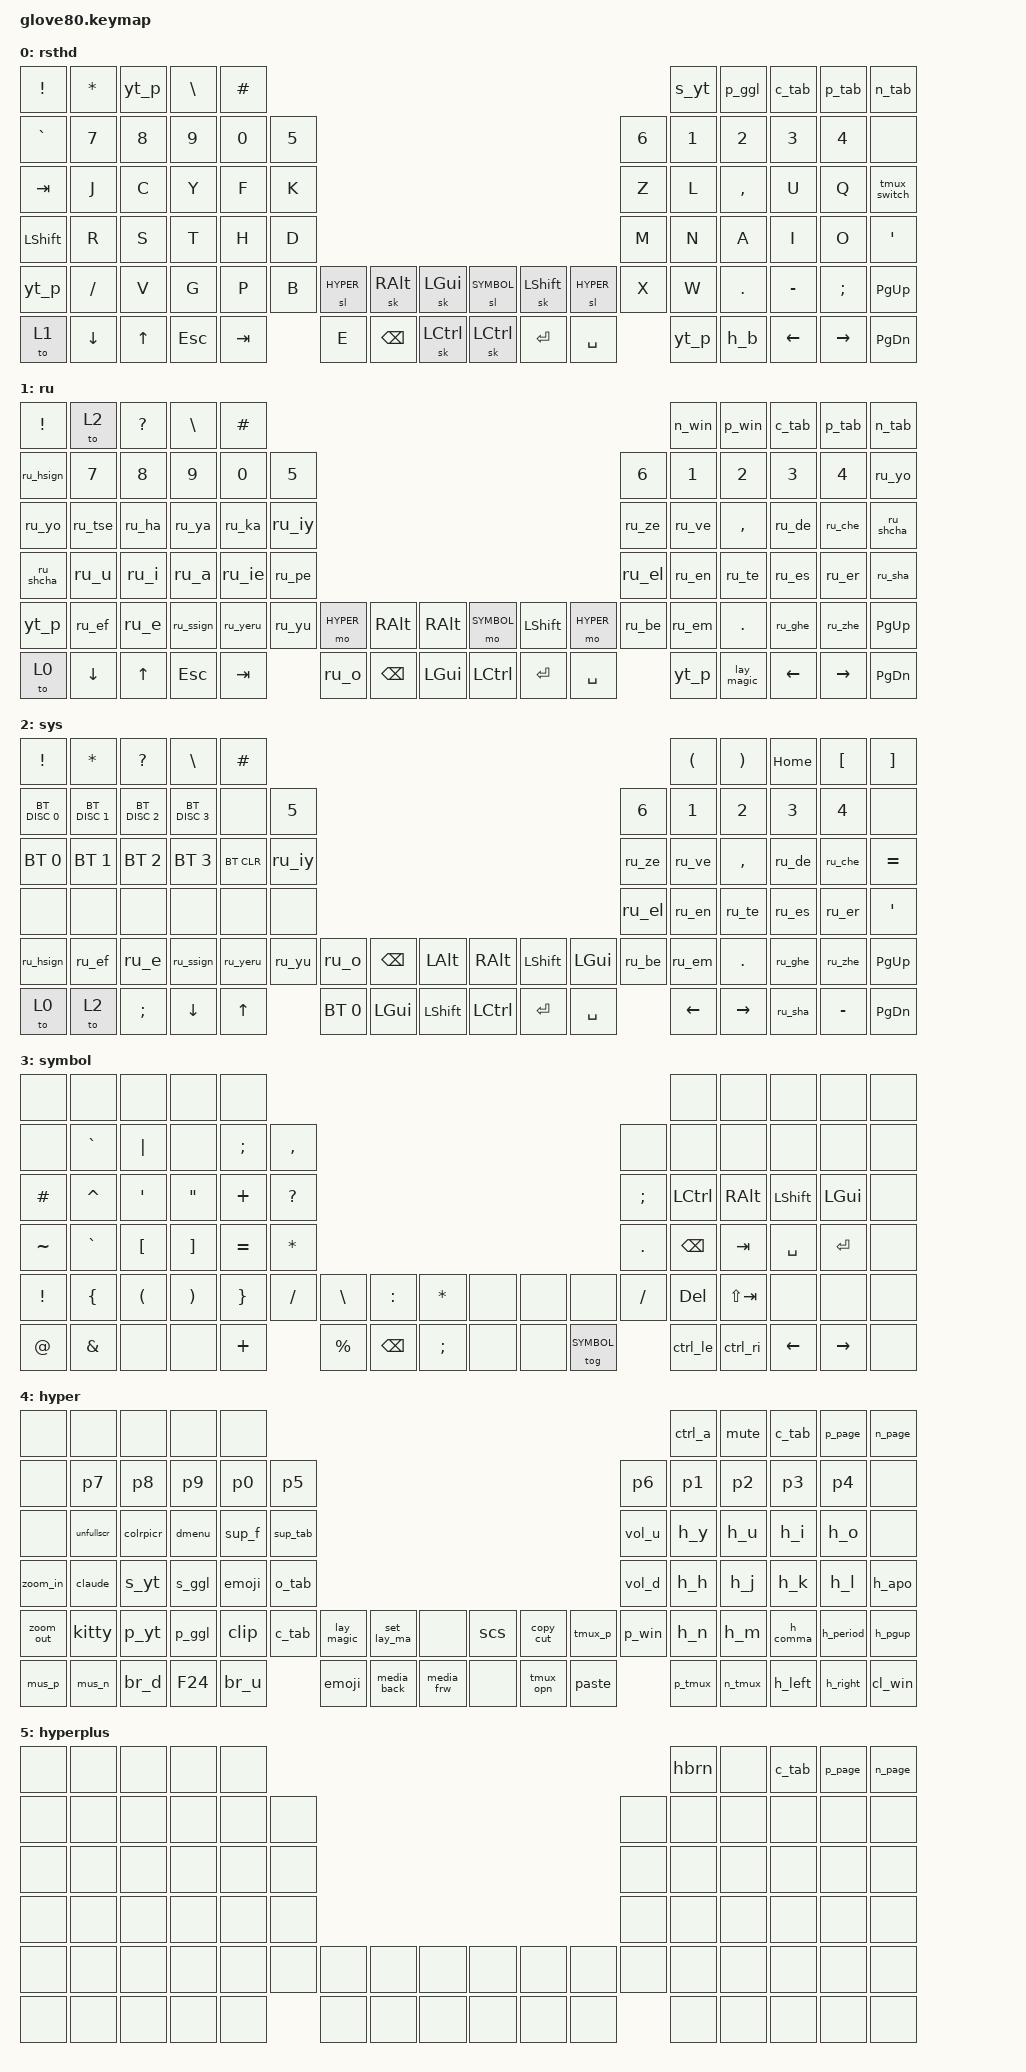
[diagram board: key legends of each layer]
#include <behaviors.dtsi>
#include <dt-bindings/zmk/keys.h>
#include <dt-bindings/zmk/bt.h>
// #if CONFIG_WIRELESS
//     #include <dt-bindings/zmk/bt.h>
//     #define _BT_SEL_KEYS_ &bt BT_SEL 0 &bt BT_SEL 1 &bt BT_SEL 2 &bt BT_SEL 3 &bt BT_CLR
// #else
//     #define _BT_SEL_KEYS_ &trans &trans &trans &trans &trans
// #endif
#define HOST_OS 1 // Linux
#include "../zmk-nodefree-config/helper.h"
#include "../zmk-nodefree-config/international_chars/russian.dtsi"

#define RSTHD 0
#define RU 1
#define SYS 2
#define SYMBOL 3
#define HYPER 4

// #include "combos.dtsi"  // requires layer aliases
# include "mouse.dtsi"
#include "extra_keys.h"

#define XXX &none
#define ___ &trans

/* Global settings */

#define QUICK_TAP_MS 175

&sk {  // sticky-key config
    release-after-ms = <900>;  // release after 0.9s
    quick-release;             // no double capitalization when rolling keys
};

&sl {  // sticky-layer config
    ignore-modifiers;          // allow chording sticky mods & layers // only line from urob's config
    release-after-ms = <900>;  // release after 0.6s
};

&lt {  // layer-tap config
    flavor = "balanced";
    tapping-term-ms = <200>;
    quick-tap-ms = <QUICK_TAP_MS>;
};


/* Caps-word, num-word and smart-mouse */
/* Custom behaviors */

// reuse basic mod-morph scheme
#define SIMPLE_MORPH(NAME, MOD, BINDING1, BINDING2) \
    ZMK_BEHAVIOR(NAME, mod_morph, \
        mods = <(MOD_L ## MOD|MOD_R ## MOD)>; \
        bindings = <BINDING1>, <BINDING2>; \
    )

// tap: comma | shift + tap: semicolon | ctrl + shift + tap: <
SIMPLE_MORPH(comma_morph, SFT, &kp COMMA, &comma_inner_morph)
SIMPLE_MORPH(comma_inner_morph, CTL, &kp SEMICOLON, &kp LESS_THAN)

// tap: dot | shift + tap: colon | ctrl + shift + tap: >
SIMPLE_MORPH(dot_morph, SFT, &kp DOT, &dot_inner_morph)
SIMPLE_MORPH(dot_inner_morph, CTL, &kp COLON, &kp GREATER_THAN)

// tap: qmark | shift + tap: excl
SIMPLE_MORPH(qexcl, SFT, &kp QMARK, &kp EXCL)

// tap: left/right parenthesis | shft + tap: less-than/greater-than
SIMPLE_MORPH(lpar_lt, SFT, &kp LPAR, &kp LT)
SIMPLE_MORPH(rpar_gt, SFT, &kp RPAR, &kp GT)

// tap: space | shift + tap: dot -> space -> sticky shift | hold: activate layer
ZMK_BEHAVIOR(lt_spc, hold_tap,
    flavor = "balanced";
    tapping-term-ms = <200>;
    quick-tap-ms = <QUICK_TAP_MS>;
    bindings = <&mo>, <&spc_morph>;
)
SIMPLE_MORPH(spc_morph, SFT, &kp SPACE, &dot_spc)
ZMK_BEHAVIOR(dot_spc, macro,
    wait-ms = <0>;
    tap-ms = <5>;
    bindings = <&kp DOT &kp SPACE &sk LSHFT>;
)

// tap: backspace | lshft + tap: delete | rshft + tap: shift-delete
ZMK_BEHAVIOR(bs_del, mod_morph,
    bindings = <&kp BSPC>, <&kp DEL>;
    mods = <(MOD_LSFT|MOD_RSFT)>;
    keep-mods = <MOD_RSFT>;
)

// tap: copy | double-tap: cut
ZMK_BEHAVIOR(copy_cut, tap_dance,
    tapping-term-ms = <200>;
    bindings = <&kp LC(C)>, <&kp LC(C) &kp BSPC>;
)

/* HYPER Macros */

ZMK_BEHAVIOR(h_a, macro,
    wait-ms = <10>;
    tap-ms = <5>;
    bindings = <&kp LG(A)>;
)

ZMK_BEHAVIOR(cl_win, macro,
    wait-ms = <10>;
    tap-ms = <5>;
    bindings = <&kp LG(Q)>;
)

ZMK_BEHAVIOR(n_win, macro,
    wait-ms = <10>;
    tap-ms = <5>;
    bindings = <&kp LG(Q)>;
)

ZMK_BEHAVIOR(p_win, macro,
    wait-ms = <10>;
    tap-ms = <5>;
    bindings = <&kp LG(X)>;
)

ZMK_BEHAVIOR(n_desk, macro,
    wait-ms = <10>;
    tap-ms = <5>;
    bindings = <&kp LG(D)>;
)

ZMK_BEHAVIOR(p_desk, macro,
    wait-ms = <10>;
    tap-ms = <5>;
    bindings = <&kp LG(S)>;
)

ZMK_BEHAVIOR(shift_desk, macro,
    wait-ms = <10>;
    tap-ms = <5>;
    bindings = <&kp LG(PERIOD)>;
)

ZMK_BEHAVIOR(yt_p, macro,
    wait-ms = <10>;
    tap-ms = <5>;
    bindings = <&kp LG(P)>;
)

ZMK_BEHAVIOR(yt_pause, macro,
    wait-ms = <10>;
    tap-ms = <5>;
    bindings = <&kp LG(LA(P))>;
)

ZMK_BEHAVIOR(spot_p, macro,
    wait-ms = <10>;
    tap-ms = <5>;
    bindings = <&kp LG(LS(P))>;
)

ZMK_BEHAVIOR(h_y, macro,
    wait-ms = <10>;
    tap-ms = <5>;
    bindings = <&kp LG(Y)>;
)

ZMK_BEHAVIOR(h_u, macro,
    wait-ms = <10>;
    tap-ms = <5>;
    bindings = <&kp LG(U)>;
)

ZMK_BEHAVIOR(h_i, macro,
    wait-ms = <10>;
    tap-ms = <5>;
    bindings = <&kp LG(I)>;
)

ZMK_BEHAVIOR(h_o, macro,
    wait-ms = <10>;
    tap-ms = <5>;
    bindings = <&kp LG(O)>;
)

ZMK_BEHAVIOR(h_apo, macro,
    wait-ms = <10>;
    tap-ms = <5>;
    bindings = <&kp LG(LA(M))>;
)

ZMK_BEHAVIOR(h_dash, macro,
    wait-ms = <10>;
    tap-ms = <5>;
    bindings = <&kp LG(LA(N))>;
)

ZMK_BEHAVIOR(h_peri, macro,
    wait-ms = <10>;
    tap-ms = <5>;
    bindings = <&kp LG(LA(PERIOD))>;
)

ZMK_BEHAVIOR(h_l, macro,
    wait-ms = <10>;
    tap-ms = <5>;
    bindings = <&kp LG(L)>;
)

ZMK_BEHAVIOR(h_h, macro,
    wait-ms = <10>;
    tap-ms = <5>;
    bindings = <&kp LG(H)>;
)

ZMK_BEHAVIOR(h_j, macro,
    wait-ms = <10>;
    tap-ms = <5>;
    bindings = <&kp LG(J)>;
)

ZMK_BEHAVIOR(h_k, macro,
    wait-ms = <10>;
    tap-ms = <5>;
    bindings = <&kp LG(K)>;
)

ZMK_BEHAVIOR(h_l, macro,
    wait-ms = <10>;
    tap-ms = <5>;
    bindings = <&kp LG(L)>;
)

ZMK_BEHAVIOR(h_b, macro,
    wait-ms = <10>;
    tap-ms = <5>;
    bindings = <&kp LG(B)>;
)

ZMK_BEHAVIOR(h_n, macro,
    wait-ms = <10>;
    tap-ms = <5>;
    bindings = <&kp LG(N)>;
)

ZMK_BEHAVIOR(h_m, macro,
    wait-ms = <10>;
    tap-ms = <5>;
    bindings = <&kp LG(M)>;
)

ZMK_BEHAVIOR(h_comma, macro,
    wait-ms = <10>;
    tap-ms = <5>;
    bindings = <&kp LG(COMMA)>;
)

ZMK_BEHAVIOR(h_period, macro,
    wait-ms = <10>;
    tap-ms = <5>;
    bindings = <&kp LG(PERIOD)>;
)

ZMK_BEHAVIOR(h_pgup, macro,
    wait-ms = <10>;
    tap-ms = <5>;
    bindings = <&kp LG(I)>;
)

ZMK_BEHAVIOR(h_left, macro,
    wait-ms = <10>;
    tap-ms = <5>;
    bindings = <&kp LG(O)>;
)

ZMK_BEHAVIOR(h_right, macro,
    wait-ms = <10>;
    tap-ms = <5>;
    bindings = <&kp LG(L)>;
)

ZMK_BEHAVIOR(mouse_place, macro,
    wait-ms = <10>;
    tap-ms = <5>;
    bindings = <&kp LG(U)>;
)

ZMK_BEHAVIOR(clip, macro,
    wait-ms = <10>;
    tap-ms = <5>;
    bindings = <&kp LG(Z)>;
)

ZMK_BEHAVIOR(p_tab, macro,
    wait-ms = <10>;
    tap-ms = <5>;
    bindings = <&kp LC(LS(TAB))>;
)

ZMK_BEHAVIOR(n_tab, macro,
    wait-ms = <10>;
    tap-ms = <5>;
    bindings = <&kp LC(TAB)>;
)

ZMK_BEHAVIOR(c_tab, macro,
    wait-ms = <10>;
    tap-ms = <5>;
    bindings = <&kp LC(W)>;
)

ZMK_BEHAVIOR(p_page, macro,
    wait-ms = <10>;
    tap-ms = <5>;
    bindings = <&kp RA(LEFT)>;
)

ZMK_BEHAVIOR(n_page, macro,
    wait-ms = <10>;
    tap-ms = <5>;
    bindings = <&kp RA(RIGHT)>;
)

ZMK_BEHAVIOR(vol_d, macro,
    wait-ms = <10>;
    tap-ms = <5>;
    bindings = <&kp C_VOL_DN>;
)

ZMK_BEHAVIOR(vol_u, macro,
    wait-ms = <10>;
    tap-ms = <5>;
    bindings = <&kp C_VOL_UP>;
)

ZMK_BEHAVIOR(hbrn, macro,
    wait-ms = <10>;
    tap-ms = <5>;
    bindings = <&kp LG(LC(H))>;
)

ZMK_BEHAVIOR(mute, macro,
    wait-ms = <10>;
    tap-ms = <5>;
    bindings = <&kp C_MUTE>;
)

ZMK_BEHAVIOR(media_back, macro,
    wait-ms = <10>;
    tap-ms = <5>;
    bindings = <&kp LG(LA(LBKT))>;
)

ZMK_BEHAVIOR(media_frw, macro,
    wait-ms = <10>;
    tap-ms = <5>;
    bindings = <&kp LG(LA(RBKT))>;
)

ZMK_BEHAVIOR(p_tmux, macro,
    wait-ms = <10>;
    tap-ms = <5>;
    bindings = <&kp LC(A) &kp P>;
)

ZMK_BEHAVIOR(tmux_opn, macro,
    wait-ms = <30>;
    tap-ms = <5>;
    bindings = <&kp LC(A) &kp G>;
)

ZMK_BEHAVIOR(n_tmux, macro,
    wait-ms = <30>;
    tap-ms = <5>;
    bindings = <&kp LC(A) &kp N>;
)

ZMK_BEHAVIOR(paste, macro,
    wait-ms = <10>;
    tap-ms = <5>;
    bindings = <&kp LC(LS(V))>;
)

ZMK_BEHAVIOR(ctrl_le, macro,
    wait-ms = <10>;
    tap-ms = <5>;
    bindings = <&kp LC(LEFT)>;
)

ZMK_BEHAVIOR(ctrl_ri, macro,
    wait-ms = <10>;
    tap-ms = <5>;
    bindings = <&kp LC(RIGHT)>;
)

ZMK_BEHAVIOR(s_yt, macro,
    wait-ms = <10>;
    tap-ms = <5>;
    bindings = <&kp LS(LG(LA(F1)))>;
)

ZMK_BEHAVIOR(s_ggl, macro,
    wait-ms = <10>;
    tap-ms = <5>;
    bindings = <&kp LS(LG(LA(F2)))>;
)

ZMK_BEHAVIOR(colrpicr, macro,
    wait-ms = <10>;
    tap-ms = <5>;
    bindings = <&kp LG(C)>;
)

ZMK_BEHAVIOR(dmenu, macro,
    wait-ms = <10>;
    tap-ms = <5>;
    bindings = <&kp LG(D)>;
)

ZMK_BEHAVIOR(emoji, macro,
    wait-ms = <10>;
    tap-ms = <5>;
    bindings = <&kp LG(E)>;
)

ZMK_BEHAVIOR(cycle_tabs, macro,
    wait-ms = <10>;
    tap-ms = <5>;
    bindings = <&kp RA(A)>;
)

ZMK_BEHAVIOR(ctrl_a, macro,
    wait-ms = <10>;
    tap-ms = <5>;
    bindings = <&kp LC(A)>;
)

ZMK_BEHAVIOR(o_tab, macro,
    wait-ms = <10>;
    tap-ms = <5>;
    bindings = <&kp LC(T)>;
)

// paste yt
ZMK_BEHAVIOR(p_yt, macro,
    wait-ms = <25>;
    tap-ms = <5>;
    bindings = <&kp LC(C) &kp LS(LG(LA(F3)))>;
)

ZMK_BEHAVIOR(p_ggl, macro,
    wait-ms = <10>;
    tap-ms = <5>;
    bindings = <&kp LC(C) &kp LS(LG(LA(F4)))>;
)

ZMK_BEHAVIOR(p0, macro,
    wait-ms = <10>;
    tap-ms = <5>;
    bindings = <&kp LG(0)>;
)

ZMK_BEHAVIOR(p1, macro,
    wait-ms = <10>;
    tap-ms = <5>;
    bindings = <&kp LG(N1)>;
)

ZMK_BEHAVIOR(p2, macro,
    wait-ms = <10>;
    tap-ms = <5>;
    bindings = <&kp LG(N2)>;
)

ZMK_BEHAVIOR(p3, macro,
    wait-ms = <10>;
    tap-ms = <5>;
    bindings = <&kp LG(N3)>;
)

ZMK_BEHAVIOR(p4, macro,
    wait-ms = <10>;
    tap-ms = <5>;
    bindings = <&kp LG(N4)>;
)

ZMK_BEHAVIOR(p5, macro,
    wait-ms = <10>;
    tap-ms = <5>;
    bindings = <&kp LG(N5)>;
)

ZMK_BEHAVIOR(p6, macro,
    wait-ms = <10>;
    tap-ms = <5>;
    bindings = <&kp LG(N6)>;
)

ZMK_BEHAVIOR(p7, macro,
    wait-ms = <10>;
    tap-ms = <5>;
    bindings = <&kp LG(N7)>;
)

ZMK_BEHAVIOR(p8, macro,
    wait-ms = <10>;
    tap-ms = <5>;
    bindings = <&kp LG(N8)>;
)

ZMK_BEHAVIOR(p9, macro,
    wait-ms = <10>;
    tap-ms = <5>;
    bindings = <&kp LG(N9)>;
)

ZMK_BEHAVIOR(p0, macro,
    wait-ms = <10>;
    tap-ms = <5>;
    bindings = <&kp LG(N0)>;
)

ZMK_BEHAVIOR(win_float, macro,
    wait-ms = <10>;
    tap-ms = <5>;
    bindings = <&kp LG(N0)>;
)

ZMK_BEHAVIOR(set_lay_ma, macro,
    wait-ms = <10>;
    tap-ms = <5>;
    bindings = <&kp LG(LS(PERIOD))>;
)

ZMK_BEHAVIOR(lay_magic, macro,
    wait-ms = <10>;
    tap-ms = <5>;
    bindings = <&kp LG(PERIOD)>;
)

ZMK_BEHAVIOR(sup_f, macro,
    wait-ms = <10>;
    tap-ms = <5>;
    bindings = <&kp LG(V)>;
)

ZMK_BEHAVIOR(sup_tab, macro,
    wait-ms = <10>;
    tap-ms = <5>;
    bindings = <&kp LG(TAB)>;
)

ZMK_BEHAVIOR(zoom_out, macro,
    wait-ms = <10>;
    tap-ms = <5>;
    bindings = <&kp LC(MINUS)>;
)

ZMK_BEHAVIOR(zoom_in, macro,
    wait-ms = <10>;
    tap-ms = <5>;
    bindings = <&kp LC(EQUAL)>;
)

ZMK_BEHAVIOR(unfullscr, macro,
    wait-ms = <10>;
    tap-ms = <5>;
    bindings = <&kp LS(LG(F))>;
)

ZMK_BEHAVIOR(scs, macro,
    wait-ms = <10>;
    tap-ms = <5>;
    bindings = <&kp LG(LA(S))>;
)

ZMK_BEHAVIOR(tmux_p, macro,
    wait-ms = <10>;
    tap-ms = <5>;
    bindings = <&kp LC(A)>;
)

ZMK_BEHAVIOR(tmux_choose, macro,
    wait-ms = <10>;
    tap-ms = <5>;
    bindings = <&kp LC(A) &kp S>;
)

ZMK_BEHAVIOR(tmux_switch, macro,
    wait-ms = <10>;
    tap-ms = <5>;
    bindings = <&kp LC(A) &kp L>;
)

ZMK_BEHAVIOR(br_d, macro,
    wait-ms = <10>;
    tap-ms = <5>;
    bindings = <&kp LG(F1)>;
)

ZMK_BEHAVIOR(br_u, macro,
    wait-ms = <10>;
    tap-ms = <5>;
    bindings = <&kp LG(F2)>;
)

ZMK_BEHAVIOR(mus_p, macro,
    wait-ms = <10>;
    tap-ms = <5>;
    bindings = <&kp LG(LBKT)>;
)

ZMK_BEHAVIOR(mus_n, macro,
    wait-ms = <10>;
    tap-ms = <5>;
    bindings = <&kp LG(RBKT)>;
)

ZMK_BEHAVIOR(claude, macro,
    wait-ms = <10>;
    tap-ms = <5>;
    bindings = <&kp LS(ENTER) &kp GRAVE &kp GRAVE &kp GRAVE &kp LS(ENTER) &kp LC(V) &kp DOWN &kp LS(ENTER) &kp BSPC>;
    // bindings = <&kp LS(ENTER) &kp GRAVE &kp GRAVE &kp GRAVE &kp LS(ENTER) &kp LC(V) &kp DOWN &kp LS(ENTER) &kp GRAVE &kp GRAVE &kp GRAVE LS(ENTER)>;
)

ZMK_BEHAVIOR(kitty, macro,
    wait-ms = <10>;
    tap-ms = <5>;
    bindings = <&kp LG(A)>;
)

/* Keymap */

// ZMK_CONDITIONAL_LAYER(FN NUM, SYS)  // FN + NUM --> SYS

ZMK_LAYER(rsthd,
//╭─────────────┬─────────────┬─────────────┬─────────────┬─────────────╮                                                                                                                  ╭─────────────┬─────────────┬─────────────┬─────────────┬─────────────╮
   &kp EXCL      &kp STAR      &yt_p         &kp BSLH      &kp HASH                                                                                                                         &s_yt         &p_ggl        &c_tab        &p_tab        &n_tab
//├─────────────┼─────────────┼─────────────┼─────────────┼─────────────┼─────────────╮                                                                                      ╭─────────────┼─────────────┼─────────────┼─────────────┼─────────────┼─────────────┤
   &kp GRAVE     &kp N7        &kp N8        &kp N9        &kp N0        &kp N5                                                                                               &kp N6        &kp N1        &kp N2        &kp N3        &kp N4        XXX
//├─────────────┼─────────────┼─────────────┼─────────────┼─────────────┼─────────────┤                                                                                      ├─────────────┼─────────────┼─────────────┼─────────────┼─────────────┼─────────────┤
   &kp TAB       &kp J         &kp C         &kp Y         &kp F         &kp K                                                                                                &kp Z         &kp L         &kp COMMA     &kp U         &kp Q         &tmux_switch
//├─────────────┼─────────────┼─────────────┼─────────────┼─────────────┼─────────────┤                                                                                      ├─────────────┼─────────────┼─────────────┼─────────────┼─────────────┼─────────────┤
   &kp LSHIFT    &kp R         &kp S         &kp T         &kp H         &kp D                                                                                                &kp M         &kp N         &kp A         &kp I         &kp O         &kp SQT
//├─────────────┼─────────────┼─────────────┼─────────────┼─────────────┼─────────────┤╭─────────────┬─────────────┬─────────────╮╭─────────────┬─────────────┬─────────────╮├─────────────┼─────────────┼─────────────┼─────────────┼─────────────┼─────────────┤
   &yt_p         &kp FSLH      &kp V         &kp G         &kp P         &kp B          &sl HYPER     &sk RALT      &sk LGUI       &sl SYMBOL    &sk LSHFT     &sl HYPER      &kp X         &kp W         &kp DOT       &kp MINUS     &kp SEMI      &kp PG_UP
//├─────────────┼─────────────┼─────────────┼─────────────┼─────────────┼─────────────╯├─────────────┼─────────────┼─────────────┤├─────────────┼─────────────┼─────────────┤╰─────────────┼─────────────┼─────────────┼─────────────┼─────────────┼─────────────┤
   &to 1         &kp DOWN      &kp UP        &kp ESC       &kp TAB                      &kp E         &kp BSPC      &sk LCTRL      &sk LCTRL     &kp RET       &kp SPACE                    &yt_p         &h_b          &kp LEFT      &kp RIGHT     &kp PG_DN
//╰─────────────┴─────────────┴─────────────┴─────────────┴─────────────╯              ╰─────────────┴─────────────┴─────────────╯╰─────────────┴─────────────┴─────────────╯              ╰─────────────┴─────────────┴─────────────┴─────────────┴─────────────╯
)

ZMK_LAYER(ru,
//╭─────────────┬─────────────┬─────────────┬─────────────┬─────────────╮                                                                                                                  ╭─────────────┬─────────────┬─────────────┬─────────────┬─────────────╮
   &kp EXCL      &to 2         &kp QMARK     &kp BSLH      &kp HASH                                                                                                                         &n_win        &p_win        &c_tab        &p_tab        &n_tab
//├─────────────┼─────────────┼─────────────┼─────────────┼─────────────┼─────────────╮                                                                                      ╭─────────────┼─────────────┼─────────────┼─────────────┼─────────────┼─────────────┤
   &ru_hsign     &kp N7        &kp N8        &kp N9        &kp N0        &kp N5                                                                                               &kp N6        &kp N1        &kp N2        &kp N3        &kp N4        &ru_yo
//├─────────────┼─────────────┼─────────────┼─────────────┼─────────────┼─────────────┤                                                                                      ├─────────────┼─────────────┼─────────────┼─────────────┼─────────────┼─────────────┤
   &ru_yo        &ru_tse       &ru_ha        &ru_ya        &ru_ka        &ru_iy                                                                                               &ru_ze        &ru_ve        &kp COMMA     &ru_de        &ru_che       &ru_shcha
//├─────────────┼─────────────┼─────────────┼─────────────┼─────────────┼─────────────┤                                                                                      ├─────────────┼─────────────┼─────────────┼─────────────┼─────────────┼─────────────┤
   &ru_shcha     &ru_u         &ru_i         &ru_a         &ru_ie        &ru_pe                                                                                               &ru_el        &ru_en        &ru_te        &ru_es        &ru_er        &ru_sha
//├─────────────┼─────────────┼─────────────┼─────────────┼─────────────┼─────────────┤╭─────────────┬─────────────┬─────────────╮╭─────────────┬─────────────┬─────────────╮├─────────────┼─────────────┼─────────────┼─────────────┼─────────────┼─────────────┤
   &yt_p         &ru_ef        &ru_e         &ru_ssign     &ru_yeru      &ru_yu         &mo HYPER     &kp RALT      &kp RALT       &mo SYMBOL    &kp LSHFT     &mo HYPER      &ru_be        &ru_em        &kp DOT       &ru_ghe       &ru_zhe       &kp PG_UP
//├─────────────┼─────────────┼─────────────┼─────────────┼─────────────┼─────────────╯├─────────────┼─────────────┼─────────────┤├─────────────┼─────────────┼─────────────┤╰─────────────┼─────────────┼─────────────┼─────────────┼─────────────┼─────────────┤
   &to 0         &kp DOWN      &kp UP        &kp ESC       &kp TAB                      &ru_o         &kp BSPC      &kp LGUI       &kp LCTRL     &kp RET       &kp SPACE                    &yt_p         &lay_magic    &kp LEFT      &kp RIGHT     &kp PG_DN
//╰─────────────┴─────────────┴─────────────┴─────────────┴─────────────╯              ╰─────────────┴─────────────┴─────────────╯╰─────────────┴─────────────┴─────────────╯              ╰─────────────┴─────────────┴─────────────┴─────────────┴─────────────╯
)

ZMK_LAYER(sys,
//╭─────────────┬─────────────┬─────────────┬─────────────┬─────────────╮                                                                                                                  ╭─────────────┬─────────────┬─────────────┬─────────────┬─────────────╮
   &kp EXCL      &kp STAR      &kp QMARK     &kp BSLH      &kp HASH                                                                                                                         &kp LPAR      &kp RPAR      &kp HOME      &kp LBKT      &kp RBKT
//├─────────────┼─────────────┼─────────────┼─────────────┼─────────────┼─────────────╮                                                                                      ╭─────────────┼─────────────┼─────────────┼─────────────┼─────────────┼─────────────┤
   &bt BT_DISC 0 &bt BT_DISC 1 &bt BT_DISC 2 &bt BT_DISC 3 XXX           &kp N5                                                                                               &kp N6        &kp N1        &kp N2        &kp N3        &kp N4        XXX
//├─────────────┼─────────────┼─────────────┼─────────────┼─────────────┼─────────────┤                                                                                      ├─────────────┼─────────────┼─────────────┼─────────────┼─────────────┼─────────────┤
   &bt BT_SEL 0 &bt BT_SEL 1 &bt BT_SEL 2 &bt BT_SEL 3 &bt BT_CLR        &ru_iy                                                                                               &ru_ze        &ru_ve        &kp COMMA     &ru_de        &ru_che       &kp EQUAL
//├─────────────┼─────────────┼─────────────┼─────────────┼─────────────┼─────────────┤                                                                                      ├─────────────┼─────────────┼─────────────┼─────────────┼─────────────┼─────────────┤
   XXX XXX XXX XXX XXX XXX                                                                                                                                                    &ru_el        &ru_en        &ru_te        &ru_es        &ru_er        &kp SQT
//├─────────────┼─────────────┼─────────────┼─────────────┼─────────────┼─────────────┤╭─────────────┬─────────────┬─────────────╮╭─────────────┬─────────────┬─────────────╮├─────────────┼─────────────┼─────────────┼─────────────┼─────────────┼─────────────┤
   &ru_hsign     &ru_ef        &ru_e         &ru_ssign     &ru_yeru      &ru_yu         &ru_o         &kp BSPC      &kp LALT       &kp RALT      &kp LSHFT     &kp LGUI       &ru_be        &ru_em        &kp DOT       &ru_ghe       &ru_zhe       &kp PG_UP
//├─────────────┼─────────────┼─────────────┼─────────────┼─────────────┼─────────────╯├─────────────┼─────────────┼─────────────┤├─────────────┼─────────────┼─────────────┤╰─────────────┼─────────────┼─────────────┼─────────────┼─────────────┼─────────────┤
   &to 0         &to 2         &kp SEMI      &kp DOWN      &kp UP                       &bt BT_SEL 0  &kp LGUI      &kp LSHFT      &kp LCTRL     &kp RET       &kp SPACE                    &kp LEFT      &kp RIGHT     &ru_sha       &kp MINUS     &kp PG_DN
//╰─────────────┴─────────────┴─────────────┴─────────────┴─────────────╯              ╰─────────────┴─────────────┴─────────────╯╰─────────────┴─────────────┴─────────────╯              ╰─────────────┴─────────────┴─────────────┴─────────────┴─────────────╯
)

ZMK_LAYER(symbol,
//╭─────────────┬─────────────┬─────────────┬─────────────┬─────────────╮                                                                                                                  ╭─────────────┬─────────────┬─────────────┬─────────────┬─────────────╮
   XXX           XXX           XXX           XXX           XXX                                                                                                                              XXX           XXX           XXX           XXX           XXX  
//├─────────────┼─────────────┼─────────────┼─────────────┼─────────────┼─────────────╮                                                                                      ╭─────────────┼─────────────┼─────────────┼─────────────┼─────────────┼─────────────┤
   XXX           &kp GRAVE     &kp PIPE      XXX           &kp SEMI      &kp COMMA                                                                                            XXX           XXX           XXX           XXX           XXX           XXX  
//├─────────────┼─────────────┼─────────────┼─────────────┼─────────────┼─────────────┤                                                                                      ├─────────────┼─────────────┼─────────────┼─────────────┼─────────────┼─────────────┤
   &kp HASH      &kp CARET     &kp SQT       &kp DQT       &kp PLUS      &kp QMARK                                                                                            &kp SEMI      &kp LCTRL     &kp RALT      &kp LSHFT     &kp LGUI      XXX  
//├─────────────┼─────────────┼─────────────┼─────────────┼─────────────┼─────────────┤                                                                                      ├─────────────┼─────────────┼─────────────┼─────────────┼─────────────┼─────────────┤
   &kp TILDE     &kp GRAVE     &kp LBKT      &kp RBKT      &kp EQUAL     &kp STAR                                                                                             &kp DOT       &kp BSPC      &kp TAB       &kp SPACE     &kp RET       XXX  
//├─────────────┼─────────────┼─────────────┼─────────────┼─────────────┼─────────────┤╭─────────────┬─────────────┬─────────────╮╭─────────────┬─────────────┬─────────────╮├─────────────┼─────────────┼─────────────┼─────────────┼─────────────┼─────────────┤
   &kp EXCL      &kp LBRC      &kp LPAR      &kp RPAR      &kp RBRC      &kp FSLH       &kp BSLH      &kp COLON      &kp STAR       XXX           XXX           XXX            &kp FSLH      &kp DEL       &kp LS(TAB)   XXX           XXX           XXX  
//├─────────────┼─────────────┼─────────────┼─────────────┼─────────────┼─────────────╯├─────────────┼─────────────┼─────────────┤├─────────────┼─────────────┼─────────────┤╰─────────────┼─────────────┼─────────────┼─────────────┼─────────────┼─────────────┤
   &kp AT        &kp AMPS      XXX           XXX           &kp PLUS                     &kp PRCNT     &kp BSPC      &kp SEMI       XXX           XXX           &tog SYMBOL                  &ctrl_le      &ctrl_ri      &kp LEFT      &kp RIGHT     XXX  
//╰─────────────┴─────────────┴─────────────┴─────────────┴─────────────╯              ╰─────────────┴─────────────┴─────────────╯╰─────────────┴─────────────┴─────────────╯              ╰─────────────┴─────────────┴─────────────┴─────────────┴─────────────╯
)

ZMK_LAYER(hyper,
//╭─────────────┬─────────────┬─────────────┬─────────────┬─────────────╮                                                                                                                  ╭─────────────┬─────────────┬─────────────┬─────────────┬─────────────╮
   XXX           XXX           XXX           XXX           XXX                                                                                                                              &ctrl_a       &mute         &c_tab        &p_page       &n_page  
//├─────────────┼─────────────┼─────────────┼─────────────┼─────────────┼─────────────╮                                                                                      ╭─────────────┼─────────────┼─────────────┼─────────────┼─────────────┼─────────────┤
   XXX           &p7           &p8           &p9           &p0           &p5                                                                                                  &p6           &p1           &p2           &p3           &p4           XXX  
//├─────────────┼─────────────┼─────────────┼─────────────┼─────────────┼─────────────┤                                                                                      ├─────────────┼─────────────┼─────────────┼─────────────┼─────────────┼─────────────┤
   XXX           &unfullscr    &colrpicr     &dmenu        &sup_f        &sup_tab                                                                                             &vol_u        &h_y          &h_u          &h_i          &h_o          XXX
//├─────────────┼─────────────┼─────────────┼─────────────┼─────────────┼─────────────┤                                                                                      ├─────────────┼─────────────┼─────────────┼─────────────┼─────────────┼─────────────┤
   &zoom_in      &claude       &s_yt         &s_ggl        &emoji        &o_tab                                                                                               &vol_d        &h_h          &h_j          &h_k          &h_l          &h_apo
//├─────────────┼─────────────┼─────────────┼─────────────┼─────────────┼─────────────┤╭─────────────┬─────────────┬─────────────╮╭─────────────┬─────────────┬─────────────╮├─────────────┼─────────────┼─────────────┼─────────────┼─────────────┼─────────────┤
   &zoom_out     &kitty        &p_yt         &p_ggl        &clip         &c_tab         &lay_magic    &set_lay_ma   XXX            &scs          &copy_cut     &tmux_p        &p_win        &h_n          &h_m          &h_comma      &h_period     &h_pgup           
//├─────────────┼─────────────┼─────────────┼─────────────┼─────────────┼─────────────╯├─────────────┼─────────────┼─────────────┤├─────────────┼─────────────┼─────────────┤╰─────────────┼─────────────┼─────────────┼─────────────┼─────────────┼─────────────┤
   &mus_p        &mus_n        &br_d         &kp F24       &br_u                        &emoji        &media_back   &media_frw     XXX           &tmux_opn     &paste                       &p_tmux       &n_tmux       &h_left       &h_right      &cl_win            
//╰─────────────┴─────────────┴─────────────┴─────────────┴─────────────╯              ╰─────────────┴─────────────┴─────────────╯╰─────────────┴─────────────┴─────────────╯              ╰─────────────┴─────────────┴─────────────┴─────────────┴─────────────╯
)

ZMK_LAYER(hyperplus,
//╭─────────────┬─────────────┬─────────────┬─────────────┬─────────────╮                                                                                                                  ╭─────────────┬─────────────┬─────────────┬─────────────┬─────────────╮
   XXX           XXX           XXX           XXX           XXX                                                                                                                              &hbrn         XXX           &c_tab        &p_page       &n_page  
//├─────────────┼─────────────┼─────────────┼─────────────┼─────────────┼─────────────╮                                                                                      ╭─────────────┼─────────────┼─────────────┼─────────────┼─────────────┼─────────────┤
   XXX           XXX           XXX           XXX           XXX           XXX                                                                                                  XXX           XXX           XXX           XXX           XXX           XXX  
//├─────────────┼─────────────┼─────────────┼─────────────┼─────────────┼─────────────┤                                                                                      ├─────────────┼─────────────┼─────────────┼─────────────┼─────────────┼─────────────┤
   XXX           XXX           XXX           XXX           XXX           XXX                                                                                                  XXX           XXX           XXX           XXX           XXX           XXX                         
//├─────────────┼─────────────┼─────────────┼─────────────┼─────────────┼─────────────┤                                                                                      ├─────────────┼─────────────┼─────────────┼─────────────┼─────────────┼─────────────┤
   XXX           XXX           XXX           XXX           XXX           XXX                                                                                                  XXX           XXX           XXX           XXX           XXX           XXX
//├─────────────┼─────────────┼─────────────┼─────────────┼─────────────┼─────────────┤╭─────────────┬─────────────┬─────────────╮╭─────────────┬─────────────┬─────────────╮├─────────────┼─────────────┼─────────────┼─────────────┼─────────────┼─────────────┤
   XXX           XXX           XXX           XXX           XXX           XXX            XXX           XXX           XXX            XXX           XXX           XXX            XXX           XXX           XXX           XXX           XXX           XXX           
//├─────────────┼─────────────┼─────────────┼─────────────┼─────────────┼─────────────╯├─────────────┼─────────────┼─────────────┤├─────────────┼─────────────┼─────────────┤╰─────────────┼─────────────┼─────────────┼─────────────┼─────────────┼─────────────┤
   XXX           XXX           XXX           XXX           XXX                          XXX           XXX           XXX            XXX           XXX           XXX                          XXX           XXX           XXX           XXX           XXX
//╰─────────────┴─────────────┴─────────────┴─────────────┴─────────────╯              ╰─────────────┴─────────────┴─────────────╯╰─────────────┴─────────────┴─────────────╯              ╰─────────────┴─────────────┴─────────────┴─────────────┴─────────────╯
)
